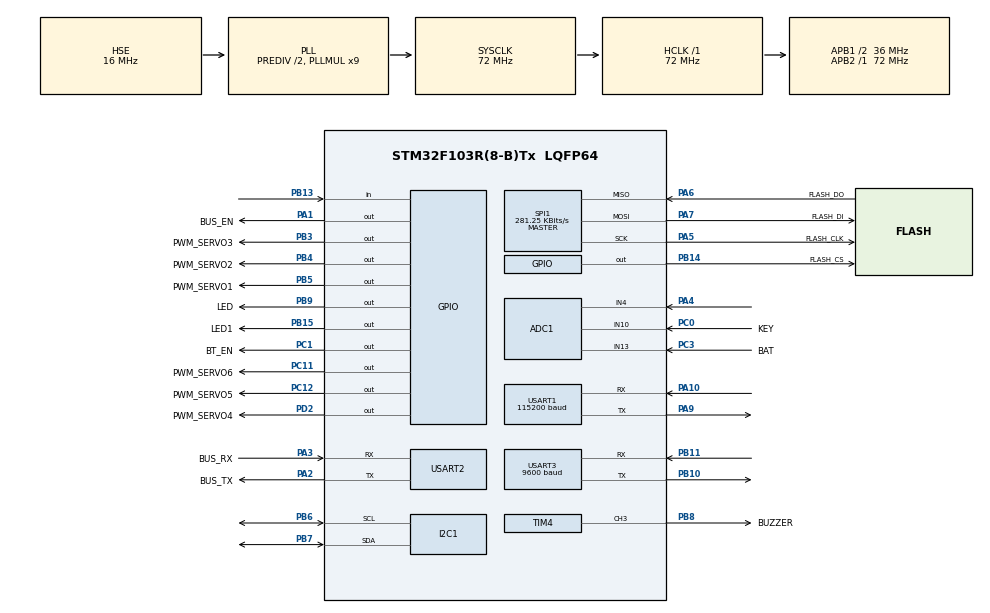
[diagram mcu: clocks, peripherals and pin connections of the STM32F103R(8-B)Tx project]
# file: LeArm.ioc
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ADC1.Channel-0\#ChannelRegularConversion=ADC_CHANNEL_13
ADC1.Channel-1\#ChannelRegularConversion=ADC_CHANNEL_10
ADC1.Channel-2\#ChannelRegularConversion=ADC_CHANNEL_4
ADC1.ContinuousConvMode=DISABLE
ADC1.DataAlign=ADC_DATAALIGN_RIGHT
ADC1.NbrOfConversion=3
ADC1.NbrOfConversionFlag=1
ADC1.Rank-0\#ChannelRegularConversion=1
ADC1.Rank-1\#ChannelRegularConversion=2
ADC1.Rank-2\#ChannelRegularConversion=3
ADC1.SamplingTime-0\#ChannelRegularConversion=ADC_SAMPLETIME_239CYCLES_5
ADC1.SamplingTime-1\#ChannelRegularConversion=ADC_SAMPLETIME_239CYCLES_5
ADC1.SamplingTime-2\#ChannelRegularConversion=ADC_SAMPLETIME_239CYCLES_5
ADC1.master=1
Dma.ADC1.1.Direction=DMA_PERIPH_TO_MEMORY
Dma.ADC1.1.Instance=DMA1_Channel1
Dma.ADC1.1.MemDataAlignment=DMA_MDATAALIGN_HALFWORD
Dma.ADC1.1.MemInc=DMA_MINC_ENABLE
Dma.ADC1.1.Mode=DMA_CIRCULAR
Dma.ADC1.1.PeriphDataAlignment=DMA_PDATAALIGN_HALFWORD
Dma.ADC1.1.PeriphInc=DMA_PINC_DISABLE
Dma.ADC1.1.Priority=DMA_PRIORITY_LOW
Dma.I2C1_RX.2.Direction=DMA_PERIPH_TO_MEMORY
Dma.I2C1_RX.2.Instance=DMA1_Channel7
Dma.I2C1_RX.2.MemDataAlignment=DMA_MDATAALIGN_BYTE
Dma.I2C1_RX.2.MemInc=DMA_MINC_ENABLE
Dma.I2C1_RX.2.Mode=DMA_NORMAL
Dma.I2C1_RX.2.PeriphDataAlignment=DMA_PDATAALIGN_BYTE
Dma.I2C1_RX.2.PeriphInc=DMA_PINC_DISABLE
Dma.I2C1_RX.2.Priority=DMA_PRIORITY_VERY_HIGH
Dma.Request0=USART1_RX
Dma.Request1=ADC1
Dma.Request2=I2C1_RX
Dma.Request3=USART3_RX
Dma.Request4=USART1_TX
Dma.USART1_RX.0.Direction=DMA_PERIPH_TO_MEMORY
Dma.USART1_RX.0.Instance=DMA1_Channel5
Dma.USART1_RX.0.MemDataAlignment=DMA_MDATAALIGN_BYTE
Dma.USART1_RX.0.MemInc=DMA_MINC_ENABLE
Dma.USART1_RX.0.Mode=DMA_CIRCULAR
Dma.USART1_RX.0.PeriphDataAlignment=DMA_PDATAALIGN_BYTE
Dma.USART1_RX.0.PeriphInc=DMA_PINC_DISABLE
Dma.USART1_RX.0.Priority=DMA_PRIORITY_LOW
Dma.USART1_TX.4.Direction=DMA_MEMORY_TO_PERIPH
Dma.USART1_TX.4.Instance=DMA1_Channel4
Dma.USART1_TX.4.MemDataAlignment=DMA_MDATAALIGN_BYTE
Dma.USART1_TX.4.MemInc=DMA_MINC_ENABLE
Dma.USART1_TX.4.Mode=DMA_NORMAL
Dma.USART1_TX.4.PeriphDataAlignment=DMA_PDATAALIGN_BYTE
Dma.USART1_TX.4.PeriphInc=DMA_PINC_DISABLE
Dma.USART1_TX.4.Priority=DMA_PRIORITY_LOW
Dma.USART3_RX.3.Direction=DMA_PERIPH_TO_MEMORY
Dma.USART3_RX.3.Instance=DMA1_Channel3
Dma.USART3_RX.3.MemDataAlignment=DMA_MDATAALIGN_BYTE
Dma.USART3_RX.3.MemInc=DMA_MINC_ENABLE
Dma.USART3_RX.3.Mode=DMA_NORMAL
Dma.USART3_RX.3.PeriphDataAlignment=DMA_PDATAALIGN_BYTE
Dma.USART3_RX.3.PeriphInc=DMA_PINC_DISABLE
Dma.USART3_RX.3.Priority=DMA_PRIORITY_LOW
FREERTOS.Events01=robotEventFlags,Dynamic,NULL
FREERTOS.Mutexes01=i2cMutexutex01,Dynamic,NULL,Available;servoMutex,Dynamic,NULL,Available
FREERTOS.Queues01=chassisCommandQueue,1,ChassisCommand_t,0,Dynamic,NULL,NULL;armRequestQueue,4,ArmCommand_t,0,Dynamic,NULL,NULL
FREERTOS.Tasks01=defaultTask,24,128,StartDefaultTask,Default,NULL,Dynamic,NULL,NULL;chassisTask,40,256,chassisTask_entry,Default,NULL,Dynamic,NULL,NULL;serialTask,32,576,serialTask_entry,Default,NULL,Dynamic,NULL,NULL;armTask,16,320,armTask_entry,Default,NULL,Dynamic,NULL,NULL;healthTask,24,160,healthTask_entry,Default,NULL,Dynamic,NULL,NULL
FREERTOS.configCHECK_FOR_STACK_OVERFLOW=2
FREERTOS.configGENERATE_RUN_TIME_STATS=0
FREERTOS.configTOTAL_HEAP_SIZE=9216
FREERTOS.configUSE_MALLOC_FAILED_HOOK=1
I2C1.I2C_Mode=I2C_Standard
Mcu.Family=STM32F1
Mcu.Name=STM32F103R(8-B)Tx
Mcu.Package=LQFP64
NVIC.DMA1_Channel1_IRQn=true\:7\:0\:true\:false\:true\:true\:false\:true\:true
NVIC.DMA1_Channel3_IRQn=true\:7\:0\:true\:false\:true\:true\:false\:true\:true
NVIC.DMA1_Channel4_IRQn=true\:6\:0\:true\:false\:true\:true\:false\:true\:true
NVIC.DMA1_Channel5_IRQn=true\:6\:0\:true\:false\:true\:true\:false\:true\:true
NVIC.DMA1_Channel7_IRQn=true\:6\:0\:true\:true\:true\:4\:true\:false\:true\:true
NVIC.I2C1_ER_IRQn=true\:6\:0\:true\:false\:true\:true\:true\:true\:true
NVIC.I2C1_EV_IRQn=true\:6\:0\:true\:false\:true\:true\:true\:true\:true
NVIC.PriorityGroup=NVIC_PRIORITYGROUP_4
NVIC.TIM2_IRQn=true\:15\:0\:false\:false\:true\:false\:false\:true\:true
NVIC.TIM3_IRQn=true\:7\:0\:true\:false\:true\:true\:true\:false\:true
NVIC.TimeBase=TIM2_IRQn
NVIC.TimeBaseIP=TIM2
NVIC.USART1_IRQn=true\:6\:0\:true\:true\:true\:1\:true\:true\:true\:true
NVIC.USART2_IRQn=true\:7\:0\:true\:true\:true\:2\:true\:true\:false\:true
NVIC.USART3_IRQn=true\:7\:0\:true\:true\:true\:3\:true\:true\:true\:true
PA1.GPIO_Label=BUS_EN
PA1.GPIO_Speed=GPIO_SPEED_FREQ_HIGH
PA1.PinState=GPIO_PIN_SET
PA1.Signal=GPIO_Output
PA10.Mode=Asynchronous
PA10.Signal=USART1_RX
PA13.Mode=Serial_Wire
PA13.Signal=SYS_JTMS-SWDIO
PA14.Mode=Serial_Wire
PA14.Signal=SYS_JTCK-SWCLK
PA2.GPIO_Label=BUS_TX
PA2.Mode=Asynchronous
PA2.Signal=USART2_TX
PA3.GPIO_Label=BUS_RX
PA3.Mode=Asynchronous
PA3.Signal=USART2_RX
PA4.Signal=ADCx_IN4
PA5.GPIO_Label=FLASH_CLK
PA5.GPIO_Speed=GPIO_SPEED_FREQ_HIGH
PA5.Mode=Full_Duplex_Master
PA5.Signal=SPI1_SCK
PA6.GPIO_Label=FLASH_DO
PA6.GPIO_PuPd=GPIO_NOPULL
PA6.Mode=Full_Duplex_Master
PA6.Signal=SPI1_MISO
PA7.GPIO_Label=FLASH_DI
PA7.GPIO_Speed=GPIO_SPEED_FREQ_HIGH
PA7.Mode=Full_Duplex_Master
PA7.Signal=SPI1_MOSI
PA9.Mode=Asynchronous
PA9.Signal=USART1_TX
PB10.Mode=Asynchronous
PB10.Signal=USART3_TX
PB11.Mode=Asynchronous
PB11.Signal=USART3_RX
PB13.Signal=GPIO_Input
PB14.GPIO_Label=FLASH_CS
PB14.GPIO_PuPd=GPIO_PULLUP
PB14.GPIO_Speed=GPIO_SPEED_FREQ_LOW
PB14.PinState=GPIO_PIN_SET
PB14.Signal=GPIO_Output
PB15.GPIO_Label=LED1
PB15.PinState=GPIO_PIN_SET
PB15.Signal=GPIO_Output
PB3.GPIO_Label=PWM_SERVO3
PB3.GPIO_Speed=GPIO_SPEED_FREQ_HIGH
PB3.Signal=GPIO_Output
PB4.GPIO_Label=PWM_SERVO2
PB4.GPIO_Speed=GPIO_SPEED_FREQ_HIGH
PB4.Signal=GPIO_Output
PB5.GPIO_Label=PWM_SERVO1
PB5.GPIO_Speed=GPIO_SPEED_FREQ_HIGH
PB5.Signal=GPIO_Output
PB6.Mode=I2C
PB6.Signal=I2C1_SCL
PB7.Mode=I2C
PB7.Signal=I2C1_SDA
PB8.GPIO_Label=BUZZER
PB8.Signal=S_TIM4_CH3
PB9.GPIO_Label=LED
PB9.GPIO_ModeDefaultOutputPP=GPIO_MODE_OUTPUT_PP
PB9.GPIO_PuPd=GPIO_PULLUP
PB9.PinState=GPIO_PIN_SET
PB9.Signal=GPIO_Output
PC0.GPIO_Label=KEY
PC0.Signal=ADCx_IN10
PC1.GPIO_Label=BT_EN
PC1.GPIO_ModeDefaultOutputPP=GPIO_MODE_OUTPUT_PP
PC1.GPIO_PuPd=GPIO_NOPULL
PC1.GPIO_Speed=GPIO_SPEED_FREQ_LOW
PC1.PinState=GPIO_PIN_SET
PC1.Signal=GPIO_Output
PC11.GPIO_Label=PWM_SERVO6
PC11.GPIO_Speed=GPIO_SPEED_FREQ_HIGH
PC11.Signal=GPIO_Output
PC12.GPIO_Label=PWM_SERVO5
PC12.GPIO_Speed=GPIO_SPEED_FREQ_HIGH
PC12.Signal=GPIO_Output
PC3.GPIO_Label=BAT
PC3.Signal=ADCx_IN13
PD0-OSC_IN.Mode=HSE-External-Oscillator
PD0-OSC_IN.Signal=RCC_OSC_IN
PD1-OSC_OUT.Mode=HSE-External-Oscillator
PD1-OSC_OUT.Signal=RCC_OSC_OUT
PD2.GPIO_Label=PWM_SERVO4
PD2.GPIO_Speed=GPIO_SPEED_FREQ_HIGH
PD2.Signal=GPIO_Output
ProjectManager.HeapSize=0x200
ProjectManager.StackSize=0x400
ProjectManager.TargetToolchain=MDK-ARM V5.32
RCC.ADCPresc=RCC_ADCPCLK2_DIV6
RCC.AHBFreq_Value=72000000
RCC.APB1CLKDivider=RCC_HCLK_DIV2
RCC.APB1Freq_Value=36000000
RCC.APB1TimFreq_Value=72000000
RCC.APB2Freq_Value=72000000
RCC.APB2TimFreq_Value=72000000
RCC.HCLKFreq_Value=72000000
RCC.HSEDivPLL=RCC_HSE_PREDIV_DIV2
RCC.HSE_VALUE=16000000
RCC.PLLMUL=RCC_PLL_MUL9
RCC.PLLSourceVirtual=RCC_PLLSOURCE_HSE
RCC.SYSCLKFreq_VALUE=72000000
RCC.SYSCLKSource=RCC_SYSCLKSOURCE_PLLCLK
RCC.USBFreq_Value=72000000
SH.ADCx_IN10.0=ADC1_IN10,IN10
SH.ADCx_IN13.0=ADC1_IN13,IN13
SH.ADCx_IN4.0=ADC1_IN4,IN4
SH.S_TIM4_CH3.0=TIM4_CH3,PWM Generation3 CH3
SPI1.BaudRatePrescaler=SPI_BAUDRATEPRESCALER_256
SPI1.CLKPhase=SPI_PHASE_1EDGE
SPI1.CLKPolarity=SPI_POLARITY_LOW
SPI1.CRCCalculation=SPI_CRCCALCULATION_DISABLE
SPI1.CalculateBaudRate=281.25 KBits/s
SPI1.Direction=SPI_DIRECTION_2LINES
SPI1.Mode=SPI_MODE_MASTER
SPI1.VirtualType=VM_MASTER
TIM3.AutoReloadPreload=TIM_AUTORELOAD_PRELOAD_ENABLE
TIM3.Channel-Output\ Compare1\ No\ Output=TIM_CHANNEL_1
TIM3.Channel-Output\ Compare2\ No\ Output=TIM_CHANNEL_2
TIM3.OC1Preload=DISABLE
TIM3.OCMode_1=TIM_OCMODE_TIMING
TIM3.Period=4999
TIM3.Prescaler=71
TIM3.Pulse-Output\ Compare1\ No\ Output=0
TIM4.AutoReloadPreload=TIM_AUTORELOAD_PRELOAD_ENABLE
TIM4.Channel-PWM\ Generation3\ CH3=TIM_CHANNEL_3
TIM4.Period=4999
TIM4.Prescaler=71
USART1.BaudRate=115200
USART1.VirtualMode=VM_ASYNC
USART2.VirtualMode=VM_ASYNC
USART3.BaudRate=9600
USART3.Mode=MODE_RX
USART3.VirtualMode=VM_ASYNC
VP_FREERTOS_VS_CMSIS_V2.Mode=CMSIS_V2
VP_SYS_VS_tim2.Mode=TIM2
VP_TIM3_VS_ClockSourceINT.Mode=Internal
VP_TIM3_VS_no_output1.Mode=Output Compare1 No Output
VP_TIM3_VS_no_output2.Mode=Output Compare2 No Output
board=custom

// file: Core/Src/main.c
/* USER CODE BEGIN Header */
/**
  ******************************************************************************
  * @file           : main.c
  * @brief          : Main program body
  ******************************************************************************
  * @attention
  *
  * Copyright (c) 2024 STMicroelectronics.
  * All rights reserved.
  *
  * in the root directory of this software component.
  * If no LICENSE file comes with this software, it is provided AS-IS.
  *
  ******************************************************************************
  */
/* USER CODE END Header */
#include "main.h"
#include "cmsis_os.h"
#include "adc.h"
#include "dma.h"
#include "i2c.h"
#include "spi.h"
#include "tim.h"
#include "usart.h"
#include "gpio.h"

/* USER CODE BEGIN Includes */

#include "global.h"
#include "stdlib.h"
#include "led.h"
#include "buzzer.h"
#include "robot_arm.h"
#include "adc_sample.h"
#include "RobotHealth.h"

/* USER CODE END Includes */

/* USER CODE BEGIN PV */
uint8_t arm_select;
/* USER CODE END PV */

void SystemClock_Config(void);
void MX_FREERTOS_Init(void);
static void MX_NVIC_Init(void);

int main(void)
{

  /* USER CODE BEGIN 1 */

  SCB->VTOR = 0x08004000UL;
  __DSB();
  __ISB();

  /* USER CODE END 1 */

  /* MCU Configuration--------------------------------------------------------*/

  /* Reset of all peripherals, Initializes the Flash interface and the Systick. */
  HAL_Init();

  /* Configure the system clock */
  SystemClock_Config();

  /* USER CODE BEGIN SysInit */
  __HAL_RCC_I2C1_CLK_ENABLE();
  __HAL_RCC_DMA1_CLK_ENABLE();
  /* USER CODE END SysInit */

  /* Initialize all configured peripherals */
  MX_GPIO_Init();
  MX_DMA_Init();
  MX_TIM3_Init();
  MX_USART3_UART_Init();
  MX_SPI1_Init();
  MX_USART1_UART_Init();
  MX_ADC1_Init();
  MX_I2C1_Init();
  MX_TIM4_Init();
  MX_USART2_UART_Init();

  /* Initialize interrupts */
  MX_NVIC_Init();
  /* USER CODE BEGIN 2 */
  led_init();
  buzzer_init();
  adc_sample_init();
  HAL_Delay(1000);

  /* Initialize observations before any RTOS task can publish a heartbeat. */
  robot_health_init(HAL_GetTick());

  /* USER CODE END 2 */

  /* Init scheduler */
  osKernelInitialize();

  /* Call init function for freertos objects (in cmsis_os2.c) */
  MX_FREERTOS_Init();

  /* Start scheduler */
  osKernelStart();

  /* We should never get here as control is now taken by the scheduler */

  /* Infinite loop */
  while (1)
  {

  }
}

void SystemClock_Config(void)
{
  RCC_OscInitTypeDef RCC_OscInitStruct = {0};
  RCC_ClkInitTypeDef RCC_ClkInitStruct = {0};
  RCC_PeriphCLKInitTypeDef PeriphClkInit = {0};

  /** Initializes the RCC Oscillators according to the specified parameters
  * in the RCC_OscInitTypeDef structure.
  */
  RCC_OscInitStruct.OscillatorType = RCC_OSCILLATORTYPE_HSE;
  RCC_OscInitStruct.HSEState = RCC_HSE_ON;
  RCC_OscInitStruct.HSEPredivValue = RCC_HSE_PREDIV_DIV2;
  RCC_OscInitStruct.HSIState = RCC_HSI_ON;
  RCC_OscInitStruct.PLL.PLLState = RCC_PLL_ON;
  RCC_OscInitStruct.PLL.PLLSource = RCC_PLLSOURCE_HSE;
  RCC_OscInitStruct.PLL.PLLMUL = RCC_PLL_MUL9;
  if (HAL_RCC_OscConfig(&RCC_OscInitStruct) != HAL_OK)
  {
    Error_Handler();
  }

  /** Initializes the CPU, AHB and APB buses clocks
  */
  RCC_ClkInitStruct.ClockType = RCC_CLOCKTYPE_HCLK|RCC_CLOCKTYPE_SYSCLK
                              |RCC_CLOCKTYPE_PCLK1|RCC_CLOCKTYPE_PCLK2;
  RCC_ClkInitStruct.SYSCLKSource = RCC_SYSCLKSOURCE_PLLCLK;
  RCC_ClkInitStruct.AHBCLKDivider = RCC_SYSCLK_DIV1;
  RCC_ClkInitStruct.APB1CLKDivider = RCC_HCLK_DIV2;
  RCC_ClkInitStruct.APB2CLKDivider = RCC_HCLK_DIV1;

  if (HAL_RCC_ClockConfig(&RCC_ClkInitStruct, FLASH_LATENCY_2) != HAL_OK)
  {
    Error_Handler();
  }
  PeriphClkInit.PeriphClockSelection = RCC_PERIPHCLK_ADC;
  PeriphClkInit.AdcClockSelection = RCC_ADCPCLK2_DIV6;
  if (HAL_RCCEx_PeriphCLKConfig(&PeriphClkInit) != HAL_OK)
  {
    Error_Handler();
  }
}

/**
  * @brief NVIC Configuration.
  * @retval None
  */
static void MX_NVIC_Init(void)
{
  /* USART1_IRQn interrupt configuration */
  HAL_NVIC_SetPriority(USART1_IRQn, 6, 0);
  HAL_NVIC_EnableIRQ(USART1_IRQn);
  /* USART2_IRQn interrupt configuration */
  HAL_NVIC_SetPriority(USART2_IRQn, 7, 0);
  HAL_NVIC_EnableIRQ(USART2_IRQn);
  /* USART3_IRQn interrupt configuration */
  HAL_NVIC_SetPriority(USART3_IRQn, 7, 0);
  HAL_NVIC_EnableIRQ(USART3_IRQn);
  /* DMA1_Channel7_IRQn interrupt configuration */
  HAL_NVIC_SetPriority(DMA1_Channel7_IRQn, 6, 0);
  HAL_NVIC_EnableIRQ(DMA1_Channel7_IRQn);
}

void HAL_TIM_PeriodElapsedCallback(TIM_HandleTypeDef *htim)
{
  if (htim->Instance == TIM2)
  {
    HAL_IncTick();
  }
}

void Error_Handler(void)
{
  __disable_irq();
  while (1)
  {
  }
}

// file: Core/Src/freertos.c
/* USER CODE BEGIN Header */
/**
  ******************************************************************************
  * File Name          : freertos.c
  * Description        : Code for freertos applications
  ******************************************************************************
  * @attention
  *
  * Copyright (c) 2026 STMicroelectronics.
  * All rights reserved.
  *
  * This software is licensed under terms that can be found in the LICENSE file
  * in the root directory of this software component.
  * If no LICENSE file comes with this software, it is provided AS-IS.
  *
  ******************************************************************************
  */
/* USER CODE END Header */

#include "FreeRTOS.h"
#include "task.h"
#include "main.h"
#include "cmsis_os.h"

/* USER CODE BEGIN Includes */
#include "ArmTask.h"
#include "ChassisTask.h"
#include "DefaultTask.h"
#include "HealthTask.h"
#include "RobotHealth.h"
#include "RobotRtos.h"
#include "RobotSafety.h"
#include "SerialTask.h"

/* USER CODE END Includes */

/* Definitions for defaultTask */
osThreadId_t defaultTaskHandle;
const osThreadAttr_t defaultTask_attributes = {
  .name = "defaultTask",
  .stack_size = 128 * 4,
  .priority = (osPriority_t) osPriorityNormal,
};
/* Definitions for chassisTask */
osThreadId_t chassisTaskHandle;
const osThreadAttr_t chassisTask_attributes = {
  .name = "chassisTask",
  .stack_size = 256 * 4,
  .priority = (osPriority_t) osPriorityHigh,
};
/* Definitions for serialTask */
osThreadId_t serialTaskHandle;
const osThreadAttr_t serialTask_attributes = {
  .name = "serialTask",
  .stack_size = 576 * 4,
  .priority = (osPriority_t) osPriorityAboveNormal,
};
/* Definitions for armTask */
osThreadId_t armTaskHandle;
const osThreadAttr_t armTask_attributes = {
  .name = "armTask",
  .stack_size = 320 * 4,
  .priority = (osPriority_t) osPriorityBelowNormal,
};
/* Definitions for healthTask */
osThreadId_t healthTaskHandle;
const osThreadAttr_t healthTask_attributes = {
  .name = "healthTask",
  .stack_size = 160 * 4,
  .priority = (osPriority_t) osPriorityNormal,
};
/* Definitions for chassisCommandQueue */
osMessageQueueId_t chassisCommandQueueHandle;
const osMessageQueueAttr_t chassisCommandQueue_attributes = {
  .name = "chassisCommandQueue"
};
/* Definitions for armRequestQueue */
osMessageQueueId_t armRequestQueueHandle;
const osMessageQueueAttr_t armRequestQueue_attributes = {
  .name = "armRequestQueue"
};
/* Definitions for i2cMutexutex01 */
osMutexId_t i2cMutexutex01Handle;
const osMutexAttr_t i2cMutexutex01_attributes = {
  .name = "i2cMutexutex01"
};
/* Definitions for servoMutex */
osMutexId_t servoMutexHandle;
const osMutexAttr_t servoMutex_attributes = {
  .name = "servoMutex"
};
/* Definitions for robotEventFlags */
osEventFlagsId_t robotEventFlagsHandle;
const osEventFlagsAttr_t robotEventFlags_attributes = {
  .name = "robotEventFlags"
};

void StartDefaultTask(void *argument);
void chassisTask_entry(void *argument);
void serialTask_entry(void *argument);
void armTask_entry(void *argument);
void healthTask_entry(void *argument);

void MX_FREERTOS_Init(void); /* (MISRA C 2004 rule 8.1) */

/* Hook prototypes */
void vApplicationStackOverflowHook(xTaskHandle xTask, signed char *pcTaskName);
void vApplicationMallocFailedHook(void);

/* USER CODE BEGIN 4 */
void vApplicationStackOverflowHook(xTaskHandle xTask, signed char *pcTaskName)
{
  (void)xTask;
  (void)pcTaskName;
  robot_health_reset_with_reason(0xE002U);
}
/* USER CODE END 4 */

/* USER CODE BEGIN 5 */
void vApplicationMallocFailedHook(void)
{
  robot_health_reset_with_reason(0xE001U);
}
/* USER CODE END 5 */

void MX_FREERTOS_Init(void) {
  /* Create the mutex(es) */
  /* creation of i2cMutexutex01 */
  i2cMutexutex01Handle = osMutexNew(&i2cMutexutex01_attributes);

  /* creation of servoMutex */
  servoMutexHandle = osMutexNew(&servoMutex_attributes);

  /* USER CODE BEGIN RTOS_MUTEX */
  /* Ready-state setup: no worker can access safety before this succeeds. */
  if (!robot_safety_init(HAL_GetTick())) {
    Error_Handler();
  }
  /* USER CODE END RTOS_MUTEX */

  /* Create the queue(s) */
  /* creation of chassisCommandQueue */
  chassisCommandQueueHandle = osMessageQueueNew (1, sizeof(ChassisCommand_t), &chassisCommandQueue_attributes);

  /* creation of armRequestQueue */
  armRequestQueueHandle = osMessageQueueNew (4, sizeof(ArmCommand_t), &armRequestQueue_attributes);

  /* Create the thread(s) */
  /* creation of defaultTask */
  defaultTaskHandle = osThreadNew(StartDefaultTask, NULL, &defaultTask_attributes);

  /* creation of chassisTask */
  chassisTaskHandle = osThreadNew(chassisTask_entry, NULL, &chassisTask_attributes);

  /* creation of serialTask */
  serialTaskHandle = osThreadNew(serialTask_entry, NULL, &serialTask_attributes);

  /* creation of armTask */
  armTaskHandle = osThreadNew(armTask_entry, NULL, &armTask_attributes);

  /* creation of healthTask */
  healthTaskHandle = osThreadNew(healthTask_entry, NULL, &healthTask_attributes);

  /* creation of robotEventFlags */
  robotEventFlagsHandle = osEventFlagsNew(&robotEventFlags_attributes);

}

void StartDefaultTask(void *argument)
{
  /* USER CODE BEGIN StartDefaultTask */
  default_task_run(argument);
  osThreadExit();
  /* USER CODE END StartDefaultTask */
}

void chassisTask_entry(void *argument)
{
  /* USER CODE BEGIN chassisTask_entry */
  chassis_task_run(argument);
  osThreadExit();
  /* USER CODE END chassisTask_entry */
}

void serialTask_entry(void *argument)
{
  /* USER CODE BEGIN serialTask_entry */
  serial_task_run(argument);
  osThreadExit();
  /* USER CODE END serialTask_entry */
}

void armTask_entry(void *argument)
{
  /* USER CODE BEGIN armTask_entry */
  arm_task_run(argument);
  osThreadExit();
  /* USER CODE END armTask_entry */
}

void healthTask_entry(void *argument)
{
  /* USER CODE BEGIN healthTask_entry */
  health_task_run(argument);
  osThreadExit();
  /* USER CODE END healthTask_entry */
}
